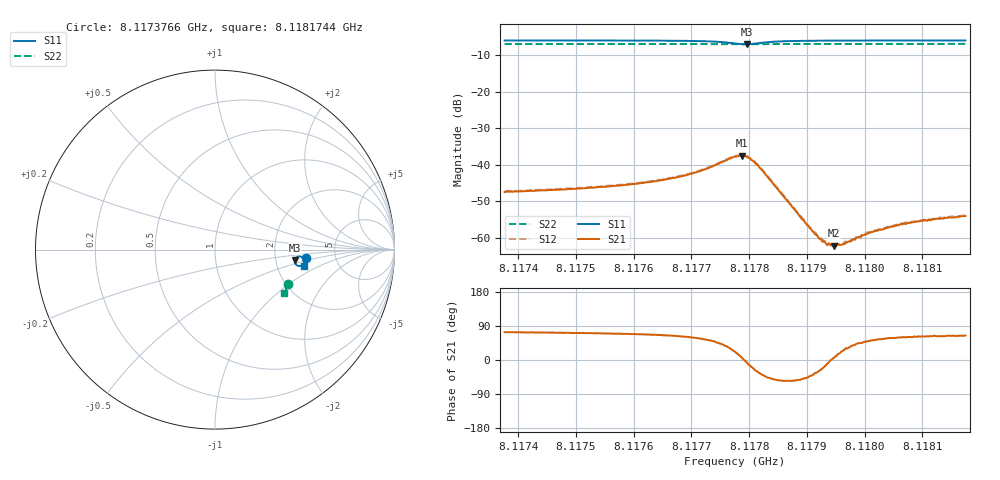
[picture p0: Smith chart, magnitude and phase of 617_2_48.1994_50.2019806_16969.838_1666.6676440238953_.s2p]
#  HZ  S  RI  R  50.00
! Rohde & Schwarz Vector Network Analyzer
! Rohde-Schwarz,ZNB20-2Port,1311601062101988,3.16
! Created: UTC 3/20/2024, 12:03:45 PM
! freq[Hz]  re:S11  im:S11  re:S21  im:S21  re:S12  im:S12  re:S22  im:S22
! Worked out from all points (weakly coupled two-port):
!   401 points, 8.1173766 GHz to 8.1181744 GHz, reference 50 ohm
!   highest |S21| = -37.43 dB at 8.1177875 GHz (marker M1); lowest = -62.2 dB at 8.1179471 GHz (marker M2)
!   lowest |S11| = -7.0 dB at 8.1177955 GHz (marker M3), VSWR 2.62, Z = 128 - j18.8 ohm
!   |S11| at or under -10 dB: nowhere
!   |S22| runs from -6.9 to -6.8 dB; largest |S21 - S12| = 0.00046
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8.11737664e9  0.5049 -0.0443  0.0012 0.00408  0.00126 0.00416  0.4091 -0.1932
8.11751027e9  0.5031 -0.0565  0.00156 0.00453  0.0016 0.00456  0.4053 -0.2018
8.11758207e9  0.5013 -0.0641  0.0019 0.00494  0.00194 0.00502  0.4031 -0.2066
8.1176439e9  0.4987 -0.0719  0.00248 0.00557  0.00257 0.00569  0.4011 -0.2107
8.11768379e9  0.495 -0.0785  0.00332 0.0062  0.0034 0.00632  0.3998 -0.2133
8.11771171e9  0.4902 -0.084  0.00435 0.00683  0.0045 0.00695  0.3986 -0.2149
8.11777554e9  0.4527 -0.0848  0.012 0.00483  0.0123 0.00479  0.395 -0.2183
8.1177875e9  0.4444 -0.0708  0.0134 0.00135  0.0135 0.00138  0.3945 -0.2185
8.11779548e9  0.4444 -0.0587  0.0129 -0.00128  0.0132 -0.0014  0.3945 -0.2185
8.11780745e9  0.4538 -0.0439  0.0104 -0.00427  0.0106 -0.00455  0.3947 -0.2185
8.11781942e9  0.467 -0.0381  0.00723 -0.00527  0.00741 -0.00534  0.395 -0.2191
8.11790917e9  0.4986 -0.0608  0.000951 -0.00081  0.000983 -0.000831  0.3934 -0.2259
8.11792114e9  0.4992 -0.0631  0.000855 -0.000484  0.000885 -0.000506  0.3929 -0.2267
8.11793111e9  0.4994 -0.065  0.000844 -0.000245  0.000856 -0.000295  0.3926 -0.2275
8.11794706e9  0.4997 -0.0675  0.000775 7.89e-05  0.000826 4.96e-05  0.3921 -0.2286
8.11796302e9  0.4998 -0.0699  0.000745 0.000351  0.000809 0.000313  0.3917 -0.2295
8.11798895e9  0.4999 -0.0735  0.00073 0.000719  0.000734 0.000689  0.3907 -0.2311
8.11799892e9  0.4999 -0.0747  0.000738 0.000805  0.000779 0.000819  0.3904 -0.2318
8.11800889e9  0.4997 -0.0759  0.000751 0.000898  0.000735 0.000934  0.39 -0.2325
8.1180428e9  0.4995 -0.0797  0.000759 0.0012  0.000768 0.00123  0.3889 -0.2345
8.11810064e9  0.499 -0.0855  0.000798 0.00151  0.000815 0.00157  0.3868 -0.2381
8.11817444e9  0.4979 -0.0922  0.000852 0.0018  0.000878 0.00181  0.3844 -0.2427
